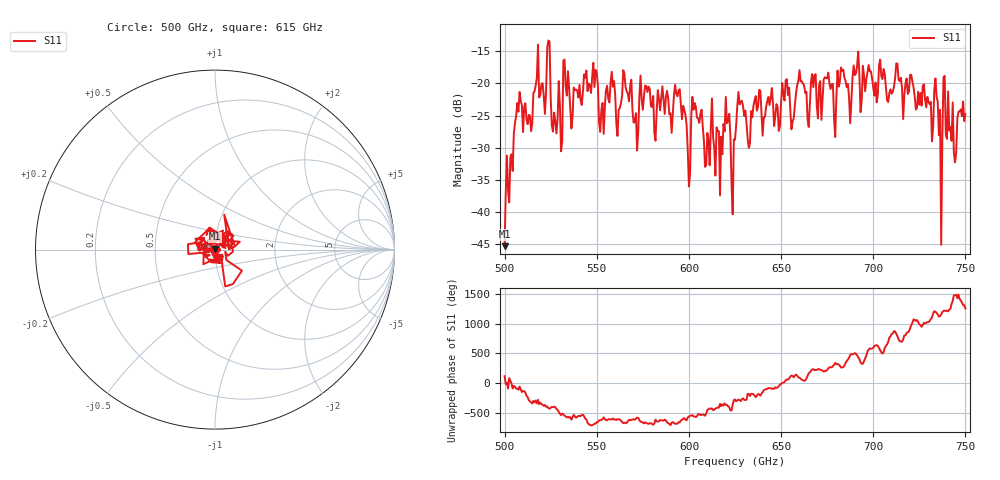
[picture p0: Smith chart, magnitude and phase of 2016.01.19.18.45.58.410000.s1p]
!Created with skrf (http://scikit-rf.org).
# GHz S RI R 50.0
!freq ReS11 ImS11
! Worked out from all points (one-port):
!   401 points, 500 GHz to 750 GHz, reference 50 ohm
!   lowest |S11| = -45.4 dB at 500 GHz (marker M1), VSWR 1.01, Z = 49.8 + j0.491 ohm
!   |S11| at or under -10 dB: start of sweep to end of sweep
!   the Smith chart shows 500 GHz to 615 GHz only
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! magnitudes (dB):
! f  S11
! 500 GHz  -45.4
! 507.5 GHz  -24.4
! 513.8 GHz  -25.0
! 523.8 GHz  -13.3
! 526.9 GHz  -24.5
! 531.2 GHz  -29.0
! 548.8 GHz  -20.6
! 552.5 GHz  -24.1
! 558.8 GHz  -20.5
! 562.5 GHz  -23.8
! 593.8 GHz  -22.0
! 599.4 GHz  -30.5
! 602.5 GHz  -24.1
! 610 GHz  -27.7
! 620.6 GHz  -26.2
! 625 GHz  -28.8
! 627.5 GHz  -23.3
! 631.9 GHz  -28.6
! 651.9 GHz  -22.7
! 656.2 GHz  -25.9
! 660 GHz  -17.9
! 687.5 GHz  -26.2
! 718.8 GHz  -21.6
! 734.4 GHz  -22.1
! 736.2 GHz  -24.1
! 739.4 GHz  -28.0
! 743.8 GHz  -30.8
! 750 GHz  -24.8
